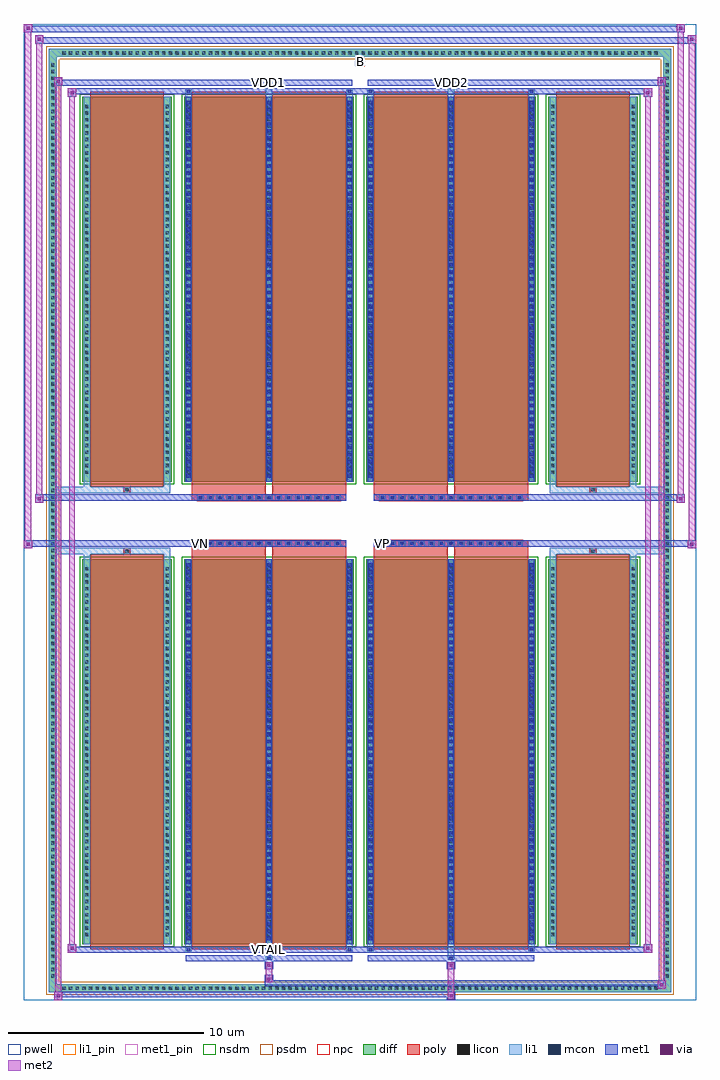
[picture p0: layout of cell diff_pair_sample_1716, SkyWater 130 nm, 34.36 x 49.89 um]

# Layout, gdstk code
import gdstk
lib = gdstk.Library(unit=1e-6, precision=5e-09)
def R(c, l, rs):  # rectangles x0, y0, x1, y1
    for r in rs: c.add(gdstk.rectangle(r[:2], r[2:], *l))
def A(c, l, x, y, w, h, nx, ny, dx, dy):  # array of equal rectangles
    R(c, l, [(x+i*dx, y+j*dy, x+i*dx+w, y+j*dy+h) for i in range(nx) for j in range(ny)])
def P(c, l, *ps):  # polygons
    for p in ps: c.add(gdstk.Polygon(p, *l))
pwell = (64, 44)
diff = (65, 20)
poly = (66, 20)
licon = (66, 44)
li1_pin = (67, 16)
li1 = (67, 20)
mcon = (67, 44)
met1_pin = (68, 16)
met1 = (68, 20)
via = (68, 44)
met2 = (69, 20)
nsdm = (93, 44)
psdm = (94, 20)
npc = (95, 20)

diff_pair_sample_1716 = lib.new_cell('diff_pair_sample_1716')
R(diff_pair_sample_1716, pwell, [(-17.18,-24.51,17.18,25.38), (-14.5,-22.7,-0.01,-0.8), (0.01,-22.7,14.5,-0.8), (-14.5,0.8,-0.01,22.7), (0.01,0.8,14.5,22.7)])
A(diff_pair_sample_1716, diff, -15.335, -24.11, 0.41, 0.41, 90, 2, 0.34, 47.81)
A(diff_pair_sample_1716, diff, -15.91, -23.495, 0.41, 0.41, 1, 138, 0, 0.34)
A(diff_pair_sample_1716, diff, 15.5, -23.495, 0.41, 0.41, 1, 138, 0, 0.34)
R(diff_pair_sample_1716, diff, [(-15.335,-24.11,15.335,-23.7), (-15.91,-23.495,-15.5,23.495), (15.5,-23.495,15.91,23.495), (-14.19,-21.655,-9.63,-1.985), (-8.99,-21.655,-0.32,-1.985), (0.32,-21.655,8.99,-1.985), (9.63,-21.655,14.19,-1.985), (-14.19,1.985,-9.63,21.655), (-8.99,1.985,-0.32,21.655), (0.32,1.985,8.99,21.655), (9.63,1.985,14.19,21.655), (-15.335,23.7,15.335,24.11)])
P(diff_pair_sample_1716, diff, [(15.91,24.11),(-15.91,24.11),(-15.91,-23.7),(-15.5,-23.7),(-15.5,23.7),(15.5,23.7),(15.5,-23.7),(-15.5,-23.7),(-15.91,-23.7),(-15.91,-24.11),(15.91,-24.11)])
A(diff_pair_sample_1716, poly, -8.32, -1.33, 0.33, 0.33, 15, 2, 0.5, 2.33)
A(diff_pair_sample_1716, poly, 0.99, -1.33, 0.33, 0.33, 15, 2, 0.5, 2.33)
R(diff_pair_sample_1716, poly, [(-13.8,-21.905,-10.02,-1.735), (-8.6,-21.905,-4.82,-1.735), (-4.49,-21.905,-0.71,-1.735), (0.71,-21.905,4.49,-1.735), (4.82,-21.905,8.6,-1.735), (10.02,-21.905,13.8,-1.735), (-12.075,-1.735,-11.745,-1.405), (-12.075,-1.735,-11.745,-1.405), (-8.6,-1.735,-4.82,-1.33), (-4.49,-1.735,-0.71,-1.33), (0.71,-1.735,4.49,-1.33), (4.82,-1.735,8.6,-1.33), (11.745,-1.735,12.075,-1.405), (11.745,-1.735,12.075,-1.405), (-8.6,-1.33,-0.71,-1), (0.71,-1.33,8.6,-1), (-8.6,1,-0.71,1.33), (0.71,1,8.6,1.33), (-8.6,1.33,-4.82,1.735), (-4.49,1.33,-0.71,1.735), (0.71,1.33,4.49,1.735), (4.82,1.33,8.6,1.735), (-12.075,1.405,-11.745,1.735), (-12.075,1.405,-11.745,1.735), (11.745,1.405,12.075,1.735), (11.745,1.405,12.075,1.735), (-13.8,1.735,-10.02,21.905), (-8.6,1.735,-4.82,21.905), (-4.49,1.735,-0.71,21.905), (0.71,1.735,4.49,21.905), (4.82,1.735,8.6,21.905), (10.02,1.735,13.8,21.905)])
A(diff_pair_sample_1716, licon, -15.215, -23.99, 0.17, 0.17, 90, 2, 0.34, 47.81)
A(diff_pair_sample_1716, licon, -15.79, -23.375, 0.17, 0.17, 1, 138, 0, 0.34)
A(diff_pair_sample_1716, licon, 15.62, -23.375, 0.17, 0.17, 1, 138, 0, 0.34)
A(diff_pair_sample_1716, licon, -14.05, -21.255, 0.17, 0.17, 1, 56, 0, 0.34)
A(diff_pair_sample_1716, licon, -9.94, -21.255, 0.17, 0.17, 1, 56, 0, 0.34)
A(diff_pair_sample_1716, licon, -8.85, -21.255, 0.17, 0.17, 3, 56, 4.11, 0.34)
A(diff_pair_sample_1716, licon, 0.46, -21.255, 0.17, 0.17, 3, 56, 4.11, 0.34)
A(diff_pair_sample_1716, licon, 9.77, -21.255, 0.17, 0.17, 1, 56, 0, 0.34)
A(diff_pair_sample_1716, licon, 13.88, -21.255, 0.17, 0.17, 1, 56, 0, 0.34)
A(diff_pair_sample_1716, licon, -8.24, -1.25, 0.17, 0.17, 15, 2, 0.5, 2.33)
A(diff_pair_sample_1716, licon, 1.07, -1.25, 0.17, 0.17, 15, 2, 0.5, 2.33)
A(diff_pair_sample_1716, licon, -14.05, 2.385, 0.17, 0.17, 1, 56, 0, 0.34)
A(diff_pair_sample_1716, licon, -9.94, 2.385, 0.17, 0.17, 1, 56, 0, 0.34)
A(diff_pair_sample_1716, licon, -8.85, 2.385, 0.17, 0.17, 3, 56, 4.11, 0.34)
A(diff_pair_sample_1716, licon, 0.46, 2.385, 0.17, 0.17, 3, 56, 4.11, 0.34)
A(diff_pair_sample_1716, licon, 9.77, 2.385, 0.17, 0.17, 1, 56, 0, 0.34)
A(diff_pair_sample_1716, licon, 13.88, 2.385, 0.17, 0.17, 1, 56, 0, 0.34)
R(diff_pair_sample_1716, licon, [(-11.995,-1.655,-11.825,-1.485), (11.825,-1.655,11.995,-1.485), (-11.995,1.485,-11.825,1.655), (11.825,1.485,11.995,1.655)])
R(diff_pair_sample_1716, li1_pin, [(-0.25,23.2,0.25,23.7)])
A(diff_pair_sample_1716, li1, -15.295, -24.07, 0.33, 0.33, 90, 2, 0.34, 47.81)
A(diff_pair_sample_1716, li1, -15.87, -23.455, 0.33, 0.33, 1, 138, 0, 0.34)
A(diff_pair_sample_1716, li1, 15.54, -23.455, 0.33, 0.33, 1, 138, 0, 0.34)
A(diff_pair_sample_1716, li1, -8.93, -21.655, 0.33, 19.67, 3, 2, 4.11, 23.64)
A(diff_pair_sample_1716, li1, 0.38, -21.655, 0.33, 19.67, 3, 2, 4.11, 23.64)
A(diff_pair_sample_1716, li1, -8.85, -21.445, 0.17, 0.17, 3, 54, 4.11, 0.36)
A(diff_pair_sample_1716, li1, -8.85, -21.445, 0.17, 19.25, 3, 2, 4.11, 23.64)
A(diff_pair_sample_1716, li1, 0.46, -21.445, 0.17, 0.17, 3, 54, 4.11, 0.36)
A(diff_pair_sample_1716, li1, 0.46, -21.445, 0.17, 19.25, 3, 2, 4.11, 23.64)
A(diff_pair_sample_1716, li1, -14.13, -21.335, 0.33, 0.33, 1, 56, 0, 0.34)
A(diff_pair_sample_1716, li1, -10.02, -21.335, 0.33, 0.33, 1, 56, 0, 0.34)
A(diff_pair_sample_1716, li1, -8.93, -21.335, 0.33, 0.33, 3, 56, 4.11, 0.34)
A(diff_pair_sample_1716, li1, 0.38, -21.335, 0.33, 0.33, 3, 56, 4.11, 0.34)
A(diff_pair_sample_1716, li1, 9.69, -21.335, 0.33, 0.33, 1, 56, 0, 0.34)
A(diff_pair_sample_1716, li1, 13.8, -21.335, 0.33, 0.33, 1, 56, 0, 0.34)
A(diff_pair_sample_1716, li1, -8.32, -1.33, 0.33, 0.33, 15, 2, 0.5, 2.33)
A(diff_pair_sample_1716, li1, 0.99, -1.33, 0.33, 0.33, 15, 2, 0.5, 2.33)
A(diff_pair_sample_1716, li1, -8.85, 2.195, 0.17, 0.17, 3, 54, 4.11, 0.36)
A(diff_pair_sample_1716, li1, 0.46, 2.195, 0.17, 0.17, 3, 54, 4.11, 0.36)
A(diff_pair_sample_1716, li1, -14.13, 2.305, 0.33, 0.33, 1, 56, 0, 0.34)
A(diff_pair_sample_1716, li1, -10.02, 2.305, 0.33, 0.33, 1, 56, 0, 0.34)
A(diff_pair_sample_1716, li1, -8.93, 2.305, 0.33, 0.33, 3, 56, 4.11, 0.34)
A(diff_pair_sample_1716, li1, 0.38, 2.305, 0.33, 0.33, 3, 56, 4.11, 0.34)
A(diff_pair_sample_1716, li1, 9.69, 2.305, 0.33, 0.33, 1, 56, 0, 0.34)
A(diff_pair_sample_1716, li1, 13.8, 2.305, 0.33, 0.33, 1, 56, 0, 0.34)
R(diff_pair_sample_1716, li1, [(-15.91,-24.11,-15.5,-23.7), (-15.91,-24.11,-15.5,-23.7), (-15.5,-24.11,15.5,-23.7), (15.5,-24.11,15.91,-23.7), (15.5,-24.11,15.91,-23.7), (-15.91,-23.7,-15.5,23.7), (15.5,-23.7,15.91,23.7), (-4.82,-22.46,-4.49,-21.655), (-4.74,-22.46,-4.57,-22.29), (4.49,-22.46,4.82,-21.655), (4.57,-22.46,4.74,-22.29), (-8.93,-22.03,-8.6,-21.655), (-8.85,-22.03,-8.68,-21.86), (-0.71,-22.03,-0.38,-21.655), (-0.63,-22.03,-0.46,-21.86), (0.38,-22.03,0.71,-21.655), (0.46,-22.03,0.63,-21.86), (8.6,-22.03,8.93,-21.655), (8.68,-22.03,8.85,-21.86), (-14.13,-21.655,-13.8,-1.985), (-10.02,-21.655,-9.69,-1.985), (9.69,-21.655,10.02,-1.985), (13.8,-21.655,14.13,-1.985), (-14.13,-1.985,-13.8,-1.405), (-10.02,-1.985,-9.69,-1.405), (9.69,-1.985,10.02,-1.405), (13.8,-1.985,14.13,-1.405), (-15.91,-1.735,-12.075,-1.405), (-14.13,-1.735,-12.075,-1.405), (-12.075,-1.735,-11.745,-1.405), (-11.745,-1.735,-9.69,-1.405), (9.69,-1.735,11.745,-1.405), (11.745,-1.735,12.075,-1.405), (11.745,-1.735,15.91,-1.405), (12.075,-1.735,14.13,-1.405), (-15.91,1.405,-12.075,1.735), (-14.13,1.405,-12.075,1.735), (-14.13,1.405,-13.8,1.985), (-12.075,1.405,-11.745,1.735), (-11.745,1.405,-9.69,1.735), (-10.02,1.405,-9.69,1.985), (9.69,1.405,11.745,1.735), (9.69,1.405,10.02,1.985), (11.745,1.405,12.075,1.735), (11.745,1.405,15.91,1.735), (12.075,1.405,14.13,1.735), (13.8,1.405,14.13,1.985), (-14.13,1.985,-13.8,21.655), (-10.02,1.985,-9.69,21.655), (9.69,1.985,10.02,21.655), (13.8,1.985,14.13,21.655), (-8.93,21.655,-8.6,22.03), (-4.82,21.655,-4.49,22.46), (-0.71,21.655,-0.38,22.03), (0.38,21.655,0.71,22.03), (4.49,21.655,4.82,22.46), (8.6,21.655,8.93,22.03), (-8.85,21.86,-8.68,22.03), (-0.63,21.86,-0.46,22.03), (0.46,21.86,0.63,22.03), (8.68,21.86,8.85,22.03), (-4.74,22.29,-4.57,22.46), (4.57,22.29,4.74,22.46), (-15.91,23.7,-15.5,24.11), (-15.91,23.7,-15.5,24.11), (-15.5,23.7,15.5,24.11), (15.5,23.7,15.91,24.11), (15.5,23.7,15.91,24.11)])
A(diff_pair_sample_1716, mcon, -8.85, -21.445, 0.17, 0.17, 3, 54, 4.11, 0.36)
A(diff_pair_sample_1716, mcon, 0.46, -21.445, 0.17, 0.17, 3, 54, 4.11, 0.36)
A(diff_pair_sample_1716, mcon, -8.24, -1.25, 0.17, 0.17, 15, 2, 0.5, 2.33)
A(diff_pair_sample_1716, mcon, 1.07, -1.25, 0.17, 0.17, 15, 2, 0.5, 2.33)
A(diff_pair_sample_1716, mcon, -8.85, 2.195, 0.17, 0.17, 3, 54, 4.11, 0.36)
A(diff_pair_sample_1716, mcon, 0.46, 2.195, 0.17, 0.17, 3, 54, 4.11, 0.36)
R(diff_pair_sample_1716, mcon, [(-4.74,-22.46,-4.57,-22.29), (4.57,-22.46,4.74,-22.29), (-8.85,-22.03,-8.68,-21.86), (-0.63,-22.03,-0.46,-21.86), (0.46,-22.03,0.63,-21.86), (8.68,-22.03,8.85,-21.86), (-8.85,21.86,-8.68,22.03), (-0.63,21.86,-0.46,22.03), (0.46,21.86,0.63,22.03), (8.68,21.86,8.85,22.03), (-4.74,22.29,-4.57,22.46), (4.57,22.29,4.74,22.46)])
R(diff_pair_sample_1716, met1_pin, [(-4.79,-22.07,-4.52,-21.8), (-8.29,-1.29,-8.02,-1.02), (1.02,-1.29,1.29,-1.02), (-4.79,22.25,-4.52,22.52), (4.52,22.25,4.79,22.52)])
A(diff_pair_sample_1716, met1, -8.91, -21.655, 0.29, 19.67, 3, 2, 4.11, 23.64)
A(diff_pair_sample_1716, met1, 0.4, -21.655, 0.29, 19.67, 3, 2, 4.11, 23.64)
A(diff_pair_sample_1716, met1, -8.91, -21.505, 0.29, 0.29, 3, 54, 4.11, 0.36)
A(diff_pair_sample_1716, met1, 0.4, -21.505, 0.29, 0.29, 3, 54, 4.11, 0.36)
A(diff_pair_sample_1716, met1, -8.3, -1.31, 0.29, 0.29, 15, 2, 0.5, 2.33)
A(diff_pair_sample_1716, met1, 1.01, -1.31, 0.29, 0.29, 15, 2, 0.5, 2.33)
A(diff_pair_sample_1716, met1, -8.91, 2.135, 0.29, 0.29, 3, 54, 4.11, 0.36)
A(diff_pair_sample_1716, met1, 0.4, 2.135, 0.29, 0.29, 3, 54, 4.11, 0.36)
R(diff_pair_sample_1716, met1, [(-15.64,-24.51,-15.21,-24.08), (4.44,-24.51,4.87,-24.08), (-15.64,-24.37,4.87,-24.08), (15.21,-23.94,15.64,-23.51), (-4.87,-23.8,15.64,-23.51), (-4.87,-23.66,-4.44,-23.23), (-4.87,-22.95,-4.44,-22.52), (4.44,-22.95,4.87,-22.52), (-8.91,-22.52,-0.4,-22.23), (-4.8,-22.52,-4.51,-22.23), (0.4,-22.52,8.91,-22.23), (4.51,-22.52,4.8,-22.23), (-14.93,-22.09,-14.5,-21.66), (-14.93,-22.09,-8.91,-21.8), (-8.91,-22.09,-8.62,-21.8), (-8.91,-22.09,-0.4,-21.8), (-0.69,-22.09,-0.4,-21.8), (-0.4,-22.09,0.4,-21.8), (0.4,-22.09,0.69,-21.8), (0.4,-22.09,8.91,-21.8), (8.62,-22.09,8.91,-21.8), (8.91,-22.09,14.93,-21.8), (14.5,-22.09,14.93,-21.66), (-17.18,-1.43,-16.75,-1), (16.75,-1.43,17.18,-1), (-17.18,-1.33,-0.71,-1), (-8.6,-1.33,-0.71,-1), (0.71,-1.33,8.6,-1), (0.71,-1.33,17.18,-1), (-16.61,0.9,-16.18,1.33), (16.18,0.9,16.61,1.33), (-16.61,1,-8.6,1.33), (-8.6,1,-0.71,1.33), (0.71,1,8.6,1.33), (8.6,1,16.61,1.33), (-14.93,21.66,-14.5,22.09), (14.5,21.66,14.93,22.09), (-14.93,21.8,-8.91,22.09), (-8.91,21.8,-8.62,22.09), (-8.91,21.8,-0.4,22.09), (-0.69,21.8,-0.4,22.09), (-0.4,21.8,0.4,22.09), (0.4,21.8,0.69,22.09), (0.4,21.8,8.91,22.09), (8.62,21.8,8.91,22.09), (8.91,21.8,14.93,22.09), (-15.64,22.23,-15.21,22.66), (-15.64,22.23,-8.91,22.52), (-8.91,22.23,-0.4,22.52), (-4.8,22.23,-4.51,22.52), (0.4,22.23,8.91,22.52), (4.51,22.23,4.8,22.52), (8.91,22.23,15.64,22.52), (15.21,22.23,15.64,22.66), (-16.61,24.38,-16.18,24.81), (-16.61,24.38,-14.5,24.71), (-14.5,24.38,14.5,24.71), (14.5,24.38,17.18,24.71), (16.75,24.38,17.18,24.81), (-17.18,24.95,-16.75,25.38), (-17.18,24.95,-14.5,25.28), (-14.5,24.95,14.5,25.28), (14.5,24.95,16.61,25.28), (16.18,24.95,16.61,25.38)])
R(diff_pair_sample_1716, via, [(-15.5,-24.37,-15.35,-24.22), (4.58,-24.37,4.73,-24.22), (15.35,-23.8,15.5,-23.65), (-4.73,-23.52,-4.58,-23.37), (-4.73,-22.81,-4.58,-22.66), (4.58,-22.81,4.73,-22.66), (-14.79,-21.95,-14.64,-21.8), (14.64,-21.95,14.79,-21.8), (-17.04,-1.29,-16.89,-1.14), (16.89,-1.29,17.04,-1.14), (-16.47,1.04,-16.32,1.19), (16.32,1.04,16.47,1.19), (-14.79,21.8,-14.64,21.95), (14.64,21.8,14.79,21.95), (-15.5,22.37,-15.35,22.52), (15.35,22.37,15.5,22.52), (-16.47,24.52,-16.32,24.67), (16.89,24.52,17.04,24.67), (-17.04,25.09,-16.89,25.24), (16.32,25.09,16.47,25.24)])
R(diff_pair_sample_1716, met2, [(-15.64,-24.51,-15.21,-24.08), (-15.57,-24.51,-15.28,22.66), (-15.28,-24.51,-15.21,-24.08), (-15.59,-24.46,-15.26,-24.13), (4.49,-24.46,4.82,-24.13), (4.49,-24.13,4.82,-22.9), (15.21,-23.94,15.64,-23.51), (15.28,-23.94,15.57,22.66), (15.57,-23.94,15.64,-23.51), (15.26,-23.89,15.59,-23.56), (-4.82,-23.61,-4.49,-23.28), (-4.82,-23.28,-4.49,-22.9), (-4.82,-22.9,-4.49,-22.57), (4.49,-22.9,4.82,-22.57), (-14.93,-22.09,-14.5,-21.66), (-14.86,-22.09,-14.57,22.09), (-14.57,-22.09,-14.5,-21.66), (14.5,-22.09,14.93,-21.66), (14.57,-22.09,14.86,22.09), (14.86,-22.09,14.93,-21.66), (-14.88,-22.04,-14.55,-21.71), (14.55,-22.04,14.88,-21.71), (-17.18,-1.43,-16.75,-1), (-17.13,-1.43,-16.8,25.38), (-16.8,-1.43,-16.75,-1), (16.75,-1.43,17.18,-1), (16.8,-1.43,17.13,24.81), (17.13,-1.43,17.18,-1), (-17.13,-1.38,-16.8,-1.05), (16.8,-1.38,17.13,-1.05), (-16.61,0.9,-16.18,1.33), (-16.56,0.9,-16.23,24.81), (-16.23,0.9,-16.18,1.33), (16.18,0.9,16.61,1.33), (16.23,0.9,16.56,25.38), (16.56,0.9,16.61,1.33), (-16.56,0.95,-16.23,1.28), (16.23,0.95,16.56,1.28), (-14.93,21.66,-14.5,22.09), (-14.57,21.66,-14.5,22.09), (14.5,21.66,14.93,22.09), (14.86,21.66,14.93,22.09), (-14.88,21.71,-14.55,22.04), (14.55,21.71,14.88,22.04), (-15.64,22.23,-15.21,22.66), (-15.28,22.23,-15.21,22.66), (15.21,22.23,15.64,22.66), (15.57,22.23,15.64,22.66), (-15.59,22.28,-15.26,22.61), (15.26,22.28,15.59,22.61), (-16.61,24.38,-16.18,24.81), (-16.23,24.38,-16.18,24.81), (16.75,24.38,17.18,24.81), (17.13,24.38,17.18,24.81), (-16.56,24.43,-16.23,24.76), (16.8,24.43,17.13,24.76), (-17.18,24.95,-16.75,25.38), (-16.8,24.95,-16.75,25.38), (16.18,24.95,16.61,25.38), (16.56,24.95,16.61,25.38), (-17.13,25,-16.8,25.33), (16.23,25,16.56,25.33)])
R(diff_pair_sample_1716, nsdm, [(-14.32,-21.785,-9.5,-1.855), (-9.12,-21.785,-0.19,-1.855), (0.19,-21.785,9.12,-1.855), (9.5,-21.785,14.32,-1.855), (-14.32,1.855,-9.5,21.785), (-9.12,1.855,-0.19,21.785), (0.19,1.855,9.12,21.785), (9.5,1.855,14.32,21.785)])
P(diff_pair_sample_1716, psdm, [(16.04,24.24),(-16.04,24.24),(-16.04,-23.57),(-15.37,-23.57),(-15.37,23.57),(15.37,23.57),(15.37,-23.57),(-15.37,-23.57),(-16.04,-23.57),(-16.04,-24.24),(16.04,-24.24)])
A(diff_pair_sample_1716, npc, -8.34, -1.35, 0.37, 0.37, 15, 2, 0.5, 2.33)
A(diff_pair_sample_1716, npc, 0.97, -1.35, 0.37, 0.37, 15, 2, 0.5, 2.33)
R(diff_pair_sample_1716, npc, [(-12.095,-1.755,-11.725,-1.385), (11.725,-1.755,12.095,-1.385), (-8.34,-1.35,-7.47,-0.98), (-8.34,-1.35,-7.47,-0.98), (-7.84,-1.35,-6.97,-0.98), (-7.84,-1.35,-6.97,-0.98), (-7.34,-1.35,-6.47,-0.98), (-7.34,-1.35,-6.47,-0.98), (-6.84,-1.35,-5.97,-0.98), (-6.84,-1.35,-5.97,-0.98), (-6.34,-1.35,-5.47,-0.98), (-6.34,-1.35,-5.47,-0.98), (-5.84,-1.35,-4.97,-0.98), (-5.84,-1.35,-4.97,-0.98), (-5.34,-1.35,-4.47,-0.98), (-5.34,-1.35,-4.47,-0.98), (-4.84,-1.35,-3.97,-0.98), (-4.84,-1.35,-3.97,-0.98), (-4.34,-1.35,-3.47,-0.98), (-4.34,-1.35,-3.47,-0.98), (-3.84,-1.35,-2.97,-0.98), (-3.84,-1.35,-2.97,-0.98), (-3.34,-1.35,-2.47,-0.98), (-3.34,-1.35,-2.47,-0.98), (-2.84,-1.35,-1.97,-0.98), (-2.84,-1.35,-1.97,-0.98), (-2.34,-1.35,-1.47,-0.98), (-2.34,-1.35,-1.47,-0.98), (-1.84,-1.35,-0.97,-0.98), (-1.84,-1.35,-0.97,-0.98), (0.97,-1.35,1.84,-0.98), (0.97,-1.35,1.84,-0.98), (1.47,-1.35,2.34,-0.98), (1.47,-1.35,2.34,-0.98), (1.97,-1.35,2.84,-0.98), (1.97,-1.35,2.84,-0.98), (2.47,-1.35,3.34,-0.98), (2.47,-1.35,3.34,-0.98), (2.97,-1.35,3.84,-0.98), (2.97,-1.35,3.84,-0.98), (3.47,-1.35,4.34,-0.98), (3.47,-1.35,4.34,-0.98), (3.97,-1.35,4.84,-0.98), (3.97,-1.35,4.84,-0.98), (4.47,-1.35,5.34,-0.98), (4.47,-1.35,5.34,-0.98), (4.97,-1.35,5.84,-0.98), (4.97,-1.35,5.84,-0.98), (5.47,-1.35,6.34,-0.98), (5.47,-1.35,6.34,-0.98), (5.97,-1.35,6.84,-0.98), (5.97,-1.35,6.84,-0.98), (6.47,-1.35,7.34,-0.98), (6.47,-1.35,7.34,-0.98), (6.97,-1.35,7.84,-0.98), (6.97,-1.35,7.84,-0.98), (7.47,-1.35,8.34,-0.98), (7.47,-1.35,8.34,-0.98), (-8.34,0.98,-7.47,1.35), (-8.34,0.98,-7.47,1.35), (-7.84,0.98,-6.97,1.35), (-7.84,0.98,-6.97,1.35), (-7.34,0.98,-6.47,1.35), (-7.34,0.98,-6.47,1.35), (-6.84,0.98,-5.97,1.35), (-6.84,0.98,-5.97,1.35), (-6.34,0.98,-5.47,1.35), (-6.34,0.98,-5.47,1.35), (-5.84,0.98,-4.97,1.35), (-5.84,0.98,-4.97,1.35), (-5.34,0.98,-4.47,1.35), (-5.34,0.98,-4.47,1.35), (-4.84,0.98,-3.97,1.35), (-4.84,0.98,-3.97,1.35), (-4.34,0.98,-3.47,1.35), (-4.34,0.98,-3.47,1.35), (-3.84,0.98,-2.97,1.35), (-3.84,0.98,-2.97,1.35), (-3.34,0.98,-2.47,1.35), (-3.34,0.98,-2.47,1.35), (-2.84,0.98,-1.97,1.35), (-2.84,0.98,-1.97,1.35), (-2.34,0.98,-1.47,1.35), (-2.34,0.98,-1.47,1.35), (-1.84,0.98,-0.97,1.35), (-1.84,0.98,-0.97,1.35), (0.97,0.98,1.84,1.35), (0.97,0.98,1.84,1.35), (1.47,0.98,2.34,1.35), (1.47,0.98,2.34,1.35), (1.97,0.98,2.84,1.35), (1.97,0.98,2.84,1.35), (2.47,0.98,3.34,1.35), (2.47,0.98,3.34,1.35), (2.97,0.98,3.84,1.35), (2.97,0.98,3.84,1.35), (3.47,0.98,4.34,1.35), (3.47,0.98,4.34,1.35), (3.97,0.98,4.84,1.35), (3.97,0.98,4.84,1.35), (4.47,0.98,5.34,1.35), (4.47,0.98,5.34,1.35), (4.97,0.98,5.84,1.35), (4.97,0.98,5.84,1.35), (5.47,0.98,6.34,1.35), (5.47,0.98,6.34,1.35), (5.97,0.98,6.84,1.35), (5.97,0.98,6.84,1.35), (6.47,0.98,7.34,1.35), (6.47,0.98,7.34,1.35), (6.97,0.98,7.84,1.35), (6.97,0.98,7.84,1.35), (7.47,0.98,8.34,1.35), (7.47,0.98,8.34,1.35), (-12.095,1.385,-11.725,1.755), (11.725,1.385,12.095,1.755)])
diff_pair_sample_1716.add(gdstk.Label('VTAIL', (-4.655,-21.935), layer=68, texttype=5))
diff_pair_sample_1716.add(gdstk.Label('VN', (-8.155,-1.155), layer=68, texttype=5))
diff_pair_sample_1716.add(gdstk.Label('VP', (1.155,-1.155), layer=68, texttype=5))
diff_pair_sample_1716.add(gdstk.Label('B', (0,23.45), layer=67, texttype=5))
diff_pair_sample_1716.add(gdstk.Label('VDD2', (4.655,22.385), layer=68, texttype=5))
diff_pair_sample_1716.add(gdstk.Label('VDD1', (-4.655,22.385), layer=68, texttype=5))

lib.write_gds('diff_pair_sample_1716.gds')
